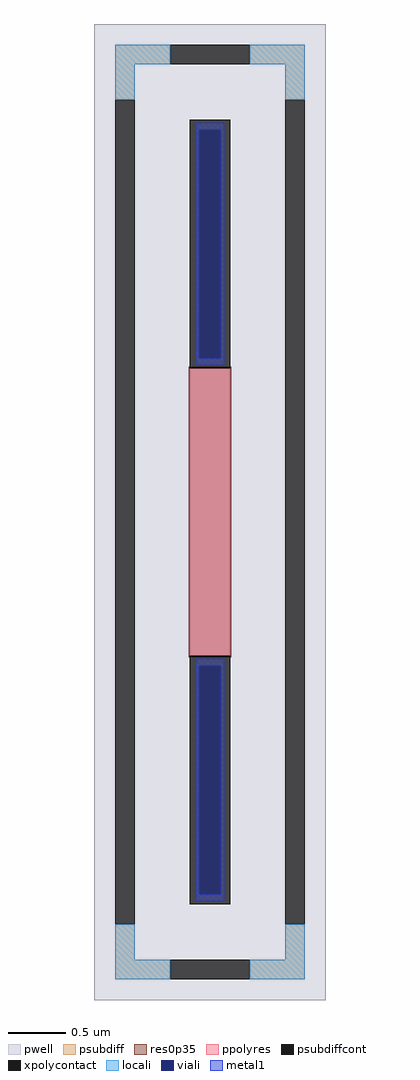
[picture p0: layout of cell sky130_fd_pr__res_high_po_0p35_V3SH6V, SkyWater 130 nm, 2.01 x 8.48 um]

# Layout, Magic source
magic
tech sky130A
magscale 1 2
<< pwell >>
rect -201 -848 201 848
<< psubdiff >>
rect -165 778 -69 812
rect 69 778 165 812
rect -165 716 -131 778
rect 131 716 165 778
rect -165 -778 -131 -716
rect 131 -778 165 -716
rect -165 -812 -69 -778
rect 69 -812 165 -778
<< psubdiffcont >>
rect -69 778 69 812
rect -165 -716 -131 716
rect 131 -716 165 716
rect -69 -812 69 -778
<< xpolycontact >>
rect -35 250 35 682
rect -35 -682 35 -250
<< ppolyres >>
rect -35 -250 35 250
<< locali >>
rect -165 778 -69 812
rect 69 778 165 812
rect -165 716 -131 778
rect 131 716 165 778
rect -165 -778 -131 -716
rect 131 -778 165 -716
rect -165 -812 -69 -778
rect 69 -812 165 -778
<< viali >>
rect -19 267 19 664
rect -19 -664 19 -267
<< metal1 >>
rect -25 664 25 676
rect -25 267 -19 664
rect 19 267 25 664
rect -25 255 25 267
rect -25 -267 25 -255
rect -25 -664 -19 -267
rect 19 -664 25 -267
rect -25 -676 25 -664
<< res0p35 >>
rect -37 -252 37 252
<< properties >>
string FIXED_BBOX -148 -795 148 795
string gencell sky130_fd_pr__res_high_po_0p35
string library sky130
string parameters w 0.350 l 2.5 m 1 nx 1 wmin 0.350 lmin 0.50 rho 319.8 val 3.397k dummy 0 dw 0.0 term 194.82 sterm 0.0 caplen 0 guard 1 glc 1 grc 1 gtc 1 gbc 1 compatible {sky130_fd_pr__res_high_po_0p35  sky130_fd_pr__res_high_po_0p69 sky130_fd_pr__res_high_po_1p41  sky130_fd_pr__res_high_po_2p85 sky130_fd_pr__res_high_po_5p73} full_metal 1 wmax 0.350 vias 1 n_guard 0 hv_guard 0 viagb 0 viagt 0 viagl 0 viagr 0
<< end >>
